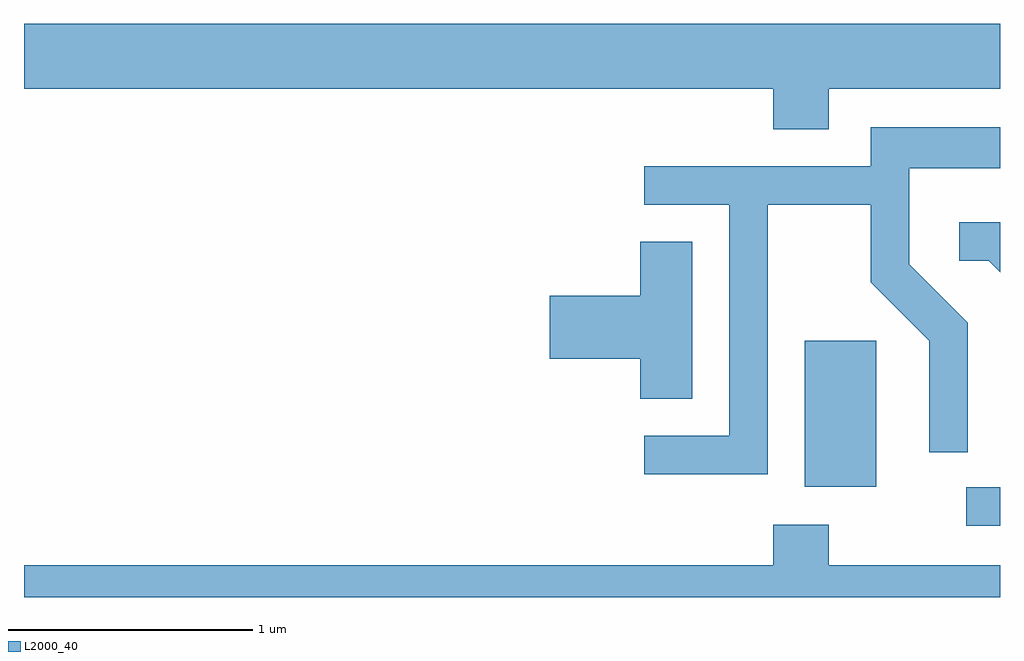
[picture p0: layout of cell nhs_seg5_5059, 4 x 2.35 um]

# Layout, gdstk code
import gdstk
lib = gdstk.Library(unit=1e-6, precision=1e-09)
def R(c, l, rs):  # rectangles x0, y0, x1, y1
    for r in rs: c.add(gdstk.rectangle(r[:2], r[2:], *l))
def P(c, l, *ps):  # polygons
    for p in ps: c.add(gdstk.Polygon(p, *l))
L2000_40 = (2000, 40)

nhs_seg5_5059 = lib.new_cell('nhs_seg5_5059')
R(nhs_seg5_5059, L2000_40, [(339.473,1428.366,339.611,1428.524), (338.811,1428.526,339.104,1429.124)])
P(nhs_seg5_5059, L2000_40, [(338.909,1430.156),(339.611,1430.156),(339.611,1430.424),(335.611,1430.424),(335.611,1430.156),(338.681,1430.156),(338.681,1429.991),(338.909,1429.991)],
  [(338.659,1429.681),(339.081,1429.681),(339.081,1429.364),(339.321,1429.124),(339.321,1428.668),(339.479,1428.668),(339.479,1429.197),(339.239,1429.437),(339.239,1429.831),(339.611,1429.831),(339.611,1429.999),(339.081,1429.999),(339.081,1429.839),(338.153,1429.839),(338.153,1429.681),(338.501,1429.681),(338.501,1428.734),(338.153,1428.734),(338.153,1428.576),(338.659,1428.576)],
  [(339.611,1429.609),(339.443,1429.609),(339.443,1429.451),(339.564,1429.451),(339.611,1429.404)],
  [(338.349,1429.529),(338.136,1429.529),(338.136,1429.309),(337.766,1429.309),(337.766,1429.051),(338.136,1429.051),(338.136,1428.886),(338.349,1428.886)],
  [(339.611,1428.204),(338.909,1428.204),(338.909,1428.369),(338.681,1428.369),(338.681,1428.204),(335.611,1428.204),(335.611,1428.072),(339.611,1428.072)])

lib.write_gds('nhs_seg5_5059.gds')
